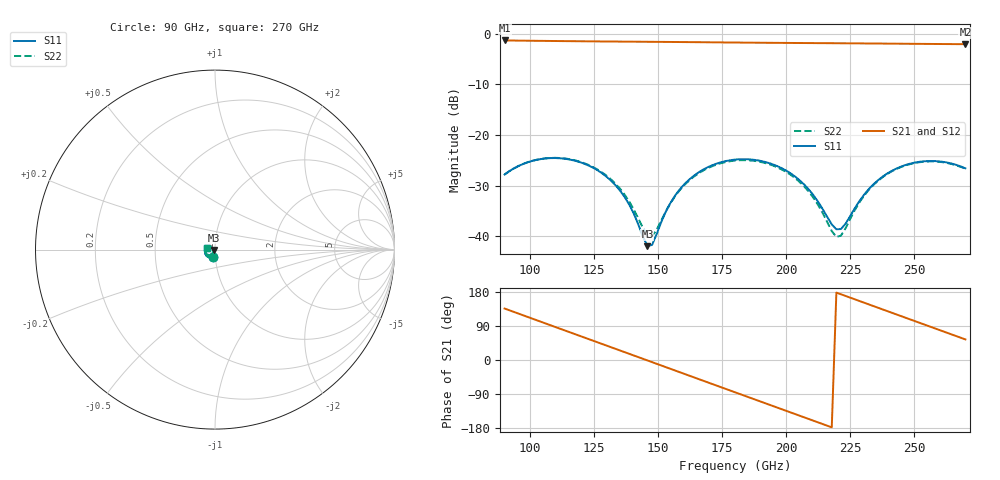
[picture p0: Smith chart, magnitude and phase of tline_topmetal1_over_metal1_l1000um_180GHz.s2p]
#  GHZ S DB R 50
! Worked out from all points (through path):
!   101 points, 90 GHz to 270 GHz, reference 50 ohm
!   highest |S21| = -1.30 dB at 90 GHz (marker M1); lowest = -2.0 dB at 270 GHz (marker M2)
!   group delay of S21, straight-line fit = 6.81 ps
!   lowest |S11| = -42.0 dB at 145.8 GHz (marker M3), VSWR 1.02, Z = 49.2 - j0.139 ohm
!   |S11| at or under -10 dB: start of sweep to end of sweep
!   |S22| runs from -40.2 to -24.5 dB; largest |S21 - S12| = 9.4e-14
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90  -27.83 -108.2  -1.30 135.8  -1.30 135.8  -27.82 -108.2
99  -25.40 -128.4  -1.35 113.6  -1.35 113.6  -25.39 -128.4
106.2  -24.64 -145.2  -1.39 96.0  -1.39 96.0  -24.60 -145.1
120.6  -25.58 -178.2  -1.47 60.6  -1.47 60.6  -25.49 -177.7
135  -30.94 154.7  -1.53 25.3  -1.53 25.3  -30.59 156.8
140.4  -35.50 153.5  -1.55 12.1  -1.55 12.1  -34.67 156.6
145.8  -42.00 -169.8  -1.57 -1.2  -1.57 -1.2  -39.84 -173.5
147.6  -41.74 -142.3  -1.57 -5.6  -1.57 -5.6  -40.01 -152.7
151.2  -37.21 -113.9  -1.59 -14.4  -1.59 -14.4  -36.89 -124.7
156.6  -31.99 -110.3  -1.61 -27.7  -1.61 -27.7  -32.11 -117.3
162  -28.87 -117.4  -1.63 -41.0  -1.63 -41.0  -29.05 -122.7
171  -26.01 -134.6  -1.67 -63.1  -1.67 -63.1  -26.20 -138.8
180  -24.87 -153.4  -1.71 -85.2  -1.71 -85.2  -25.06 -157.3
194.4  -25.74 176.9  -1.77 -120.4  -1.77 -120.4  -25.97 172.9
203.4  -28.20 161.2  -1.80 -142.4  -1.80 -142.4  -28.50 156.6
210.6  -31.89 154.6  -1.83 -160.1  -1.83 -160.1  -32.39 149.1
217.8  -37.68 173.2  -1.85 -177.7  -1.85 -177.7  -39.01 168.8
221.4  -38.60 -155.2  -1.86 173.4  -1.86 173.4  -39.91 -153.1
230.4  -31.84 -123.7  -1.89 151.3  -1.89 151.3  -32.02 -122.4
241.2  -27.12 -135.9  -1.93 124.8  -1.93 124.8  -27.20 -136.6
255.6  -25.15 -162.8  -1.99 89.6  -1.99 89.6  -25.24 -164.4
270  -26.60 170.4  -2.04 54.3  -2.04 54.3  -26.69 168.2
